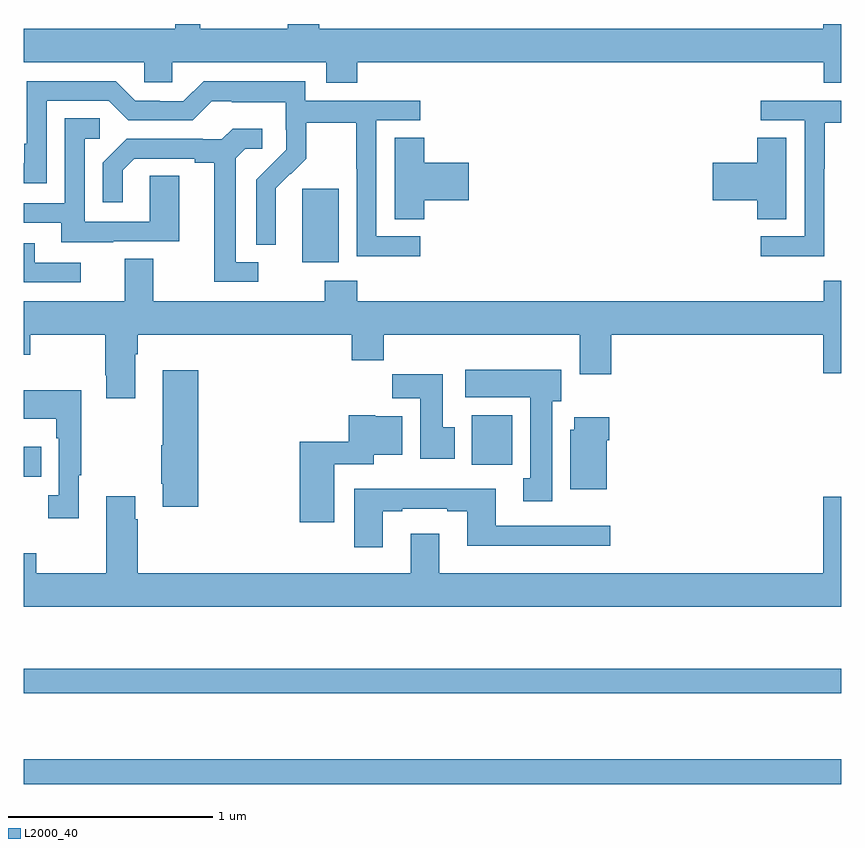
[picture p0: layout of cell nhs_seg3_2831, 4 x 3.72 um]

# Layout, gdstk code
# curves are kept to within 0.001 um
import gdstk
lib = gdstk.Library(unit=1e-6, precision=1e-09)
def R(c, l, rs):  # rectangles x0, y0, x1, y1
    for r in rs: c.add(gdstk.rectangle(r[:2], r[2:], *l))
def P(c, l, *ps):  # polygons
    for p in ps: c.add(gdstk.Polygon(p, *l))
L2000_40 = (2000, 40)

nhs_seg3_2831 = lib.new_cell('nhs_seg3_2831')
R(nhs_seg3_2831, L2000_40, [(257,734.682,261,734.803), (257,735.126,261,735.247), (257,736.186,257.087,736.333), (259.193,736.244,259.39,736.486), (258.362,737.234,258.541,737.595)])
P(nhs_seg3_2831, L2000_40, [(258.632,738.212),(260.915,738.212),(260.915,738.113),(261,738.113),(261,738.4),(260.912,738.4),(260.912,738.376),(258.446,738.376),(258.446,738.4),(258.293,738.4),(258.293,738.376),(257.863,738.376),(257.863,738.4),(257.741,738.4),(257.741,738.376),(257,738.376),(257,738.212),(257.589,738.212),(257.589,738.114),(257.727,738.114),(257.727,738.212),(258.479,738.212),(258.479,738.113),(258.632,738.113)],
  [(258.94,737.361),(258.726,737.361),(258.726,737.928),(258.94,737.928),(258.94,738.024),(258.378,738.024),(258.378,738.121),(257.881,738.121),(257.781,738.021),(257.666,738.021),(257.666,738.024),(257.547,738.024),(257.451,738.12),(257.016,738.12),(257.016,737.815),(257.003,737.815),(257.003,737.718),(257,737.718),(257,737.622),(257.112,737.622),(257.112,738.024),(257.415,738.024),(257.511,737.928),(257.826,737.928),(257.919,738.021),(258.019,738.021),(258.019,738.017),(258.282,738.017),(258.282,737.883),(258.284,737.883),(258.284,737.786),(258.138,737.638),(258.138,737.32),(258.234,737.32),(258.233,737.597),(258.303,737.667),(258.306,737.664),(258.383,737.741),(258.383,737.916),(258.628,737.916),(258.628,737.692),(258.63,737.692),(258.63,737.263),(258.94,737.263)],
  [(260.916,737.692),(260.919,737.692),(260.919,737.916),(261,737.916),(261,738.024),(260.607,738.024),(260.607,737.928),(260.82,737.928),(260.82,737.361),(260.607,737.361),(260.607,737.263),(260.916,737.263)],
  [(257.437,737.337),(257.761,737.337),(257.761,737.657),(257.616,737.657),(257.616,737.433),(257.298,737.433),(257.298,737.838),(257.371,737.838),(257.371,737.939),(257.202,737.939),(257.202,737.523),(257,737.523),(257,737.427),(257.183,737.427),(257.183,737.333),(257.437,737.333)],
  [(258.148,737.235),(258.037,737.235),(258.037,737.743),(258.084,737.79),(258.166,737.79),(258.166,737.887),(258.022,737.887),(257.97,737.835),(257.876,737.835),(257.876,737.838),(257.504,737.838),(257.388,737.722),(257.388,737.529),(257.485,737.529),(257.485,737.685),(257.542,737.742),(257.837,737.742),(257.837,737.72),(257.933,737.72),(257.933,737.139),(258.148,737.139)],
  [(260.731,737.843),(260.588,737.843),(260.588,737.72),(260.37,737.72),(260.37,737.537),(260.588,737.537),(260.588,737.446),(260.731,737.446)],
  [(258.959,737.537),(259.177,737.537),(259.177,737.72),(258.959,737.72),(258.959,737.843),(258.815,737.843),(258.815,737.446),(258.959,737.446)],
  [(257.278,737.232),(257.053,737.232),(257.053,737.328),(257,737.328),(257,737.136),(257.278,737.136)],
  [(257.545,736.784),(257.558,736.784),(257.558,736.88),(258.605,736.88),(258.605,736.756),(258.761,736.756),(258.761,736.88),(259.721,736.88),(259.721,736.686),(259.874,736.686),(259.874,736.88),(260.912,736.88),(260.912,736.692),(261,736.692),(261,737.143),(260.915,737.143),(260.915,737.044),(258.632,737.044),(258.632,737.143),(258.472,737.143),(258.472,737.044),(257.635,737.044),(257.635,737.252),(257.495,737.252),(257.495,737.044),(257,737.044),(257,736.781),(257.031,736.781),(257.031,736.88),(257.398,736.88),(257.398,736.681),(257.405,736.681),(257.405,736.569),(257.545,736.569)],
  [(259.585,736.554),(259.63,736.554),(259.63,736.708),(259.161,736.708),(259.161,736.574),(259.478,736.574),(259.478,736.178),(259.445,736.178),(259.445,736.065),(259.585,736.065)],
  [(257.854,736.705),(257.681,736.705),(257.681,736.339),(257.674,736.339),(257.674,736.15),(257.681,736.15),(257.681,736.038),(257.854,736.038)],
  [(259.108,736.428),(259.051,736.428),(259.051,736.687),(258.802,736.687),(258.802,736.568),(258.941,736.568),(258.941,736.272),(259.108,736.272)],
  [(257.269,736.193),(257.281,736.193),(257.281,736.609),(257,736.609),(257,736.469),(257.16,736.469),(257.16,736.373),(257.172,736.373),(257.172,736.094),(257.121,736.094),(257.121,735.981),(257.269,735.981)],
  [(258.52,736.247),(258.712,736.247),(258.712,736.292),(258.853,736.292),(258.853,736.48),(258.72,736.48),(258.72,736.486),(258.59,736.486),(258.59,736.357),(258.35,736.357),(258.35,735.963),(258.52,735.963)],
  [(259.852,736.364),(259.865,736.364),(259.865,736.477),(259.694,736.477),(259.694,736.416),(259.673,736.416),(259.673,736.124),(259.852,736.124)],
  [(258.757,736.017),(258.853,736.017),(258.853,736.029),(259.073,736.029),(259.073,736.017),(259.169,736.017),(259.169,735.848),(259.87,735.848),(259.87,735.945),(259.309,735.945),(259.309,736.126),(258.617,736.126),(258.617,735.84),(258.757,735.84)],
  [(261,736.087),(260.912,736.087),(260.912,735.712),(259.033,735.712),(259.033,735.907),(258.893,735.907),(258.893,735.712),(257.558,735.712),(257.558,735.977),(257.545,735.977),(257.545,736.09),(257.405,736.09),(257.405,735.712),(257.061,735.712),(257.061,735.811),(257,735.811),(257,735.548),(261,735.548)])

lib.write_gds('nhs_seg3_2831.gds')
